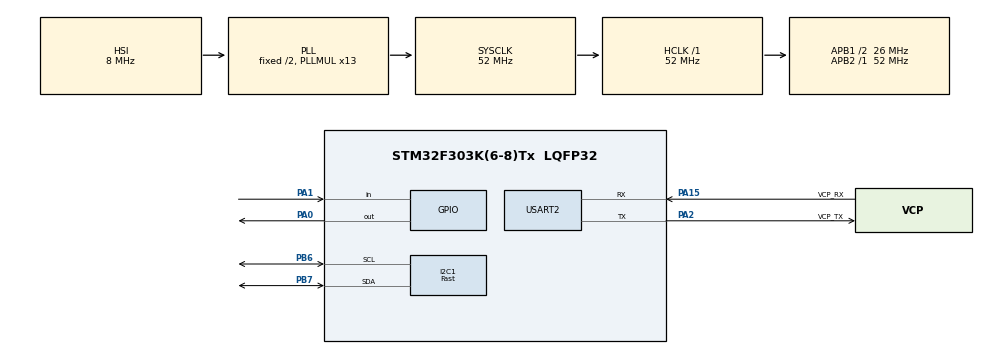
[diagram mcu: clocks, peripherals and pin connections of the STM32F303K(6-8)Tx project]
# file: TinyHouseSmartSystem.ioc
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I2C1.I2C_Speed_Mode=I2C_Fast
I2C1.Timing=0x0000020B
Mcu.Family=STM32F3
Mcu.Name=STM32F303K(6-8)Tx
Mcu.Package=LQFP32
NVIC.PriorityGroup=NVIC_PRIORITYGROUP_4
PA0.Signal=GPIO_Output
PA1.Signal=GPIO_Input
PA13.GPIO_Label=SWDIO
PA13.Mode=Serial_Wire
PA13.Signal=SYS_JTMS-SWDIO
PA14.GPIO_Label=SWCLK
PA14.Mode=Serial_Wire
PA14.Signal=SYS_JTCK-SWCLK
PA15.GPIO_Label=VCP_RX
PA15.Mode=Asynchronous
PA15.Signal=USART2_RX
PA2.GPIO_Label=VCP_TX
PA2.Mode=Asynchronous
PA2.Signal=USART2_TX
PB6.Mode=I2C
PB6.Signal=I2C1_SCL
PB7.Mode=I2C
PB7.Signal=I2C1_SDA
PF0\ /\ OSC_IN.GPIO_Label=MCO
PF0\ /\ OSC_IN.Mode=HSE-External-Clock-Source
PF0\ /\ OSC_IN.Signal=RCC_OSC_IN
ProjectManager.HeapSize=0x200
ProjectManager.StackSize=0x400
ProjectManager.TargetToolchain=STM32CubeIDE
RCC.AHBFreq_Value=52000000
RCC.APB1CLKDivider=RCC_HCLK_DIV2
RCC.APB1Freq_Value=26000000
RCC.APB1TimFreq_Value=52000000
RCC.APB2Freq_Value=52000000
RCC.APB2TimFreq_Value=52000000
RCC.CortexFreq_Value=52000000
RCC.HCLKFreq_Value=52000000
RCC.HSE_VALUE=8000000
RCC.HSI_VALUE=8000000
RCC.PLLMUL=RCC_PLL_MUL13
RCC.SYSCLKFreq_VALUE=52000000
RCC.SYSCLKSourceVirtual=RCC_SYSCLKSOURCE_PLLCLK
TIM1.Prescaler=51
USART2.VirtualMode-Asynchronous=VM_ASYNC
VP_TIM1_VS_ClockSourceINT.Mode=Internal
board=NUCLEO-F303K8

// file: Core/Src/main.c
/* USER CODE BEGIN Header */
/**
  ******************************************************************************
  * @file           : main.c
  * @brief          : Main program body
  ******************************************************************************
  * @attention
  *
  * Copyright (c) 2023 STMicroelectronics.
  * All rights reserved.
  *
  * This software is licensed under terms that can be found in the LICENSE file
  * in the root directory of this software component.
  * If no LICENSE file comes with this software, it is provided AS-IS.
  *
  ******************************************************************************
  */
/* USER CODE END Header */
#include "main.h"

/* USER CODE BEGIN Includes */
#include "ssd1306.h"
#include "stdio.h"
/* USER CODE END Includes */

I2C_HandleTypeDef hi2c1;

TIM_HandleTypeDef htim1;

UART_HandleTypeDef huart2;

void SystemClock_Config(void);
static void MX_GPIO_Init(void);
static void MX_USART2_UART_Init(void);
static void MX_I2C1_Init(void);
static void MX_TIM1_Init(void);

uint8_t DHT11_Start(void);
uint8_t DHT11_Read(void);
uint8_t getAirQuality(void);

/* USER CODE BEGIN 0 */
/****************************     Defining the States  &  Global Variables       ************************/
typedef enum
{
	Idle_State,
	TandH_Read_State,
	AirQ_Read_State,
	Display_Results_State
} eSystemState;

#define DHT11_PORT GPIOA
#define DHT11_PIN GPIO_PIN_0
#define MQ135_PORT GPIOA
#define MQ135_PIN GPIO_PIN_1

uint8_t RHI, RHD, TCI, TCD, SUM;
uint32_t pMillis, cMillis;
float tCelsius = 0;
float tFahrenheit = 0;
float RH = 0;
uint8_t TFI = 0;
uint8_t TFD = 0;
char strCopy[15];

/* Prototype Event Handlers */
eSystemState IdleHandler(void)
{
	//Delay for 1 seconds
	HAL_Delay(2000);
	//Start the temperature read state
	HAL_TIM_Base_Start(&htim1);
	ssd1306_Init();

	ssd1306_SetCursor(4, 1);
	ssd1306_WriteString("Melon ", Font_11x18, White);

	ssd1306_SetCursor(1,25);
	ssd1306_WriteString("Electronics", Font_11x18, White);

	ssd1306_UpdateScreen();

	return TandH_Read_State; // Goes to Temperature Read State
}

eSystemState TandHReaderHandler(void)
{
	//Reads the Humidity data
	//Stores the data

	if(DHT11_Start())
	{
		RHI = DHT11_Read(); // Relative humidity integral
	    RHD = DHT11_Read(); // Relative humidity decimal
	    TCI = DHT11_Read(); // Celsius integral
	    TCD = DHT11_Read(); // Celsius decimal
	    SUM = DHT11_Read(); // Check sum
	    if (RHI + RHD + TCI + TCD == SUM)
	    {
	    	// Can use RHI and TCI for any purposes if whole number only needed
	    	tCelsius = (float)TCI + (float)(TCD/10.0);
	    	tFahrenheit = tCelsius * 9/5 + 32;
	    	RH = (float)RHI + (float)(RHD/10.0);

	    	// Can use tCelsius, tFahrenheit and RH for any purposes
	    	TFI = tFahrenheit;  // Fahrenheit integral
	    	TFD = tFahrenheit*10-TFI*10; // Fahrenheit decimal

	    	sprintf(strCopy,"Tmp: %d.%d F   ", TFI, TFD);
	    	ssd1306_SetCursor(1, 1);
	    	ssd1306_WriteString (strCopy, Font_11x18, White);

	    	sprintf(strCopy,"Hmd: %d.%d %%  ", RHI, RHD);
	    	ssd1306_SetCursor(1, 25);
	    	ssd1306_WriteString (strCopy, Font_11x18, White);

	      }
	  }
	return AirQ_Read_State; //Goes to AirQ Read State
}

eSystemState AirQReaderHandler(void)
{
	//Reads the AirQ data
	//Stores the data

	  ssd1306_SetCursor(1, 46);
	  //sprintf(strCopy,"AIR BAD :(");

	  switch (getAirQuality()){
	  case 1:
		  sprintf(strCopy,"Air: Good");
		  break;
	  case 0:
		  sprintf(strCopy,"Air: Bad    ");
		  break;
	  default:
		  sprintf(strCopy,"Air: N/a");
	  }

	  ssd1306_WriteString (strCopy, Font_11x18, White);

	return Display_Results_State; //Goes to Display Result State
}

eSystemState DisplayResultsHandler(void)
{
	//Gets the Stored data
	//Displays all 3 data

    ssd1306_UpdateScreen();
    HAL_Delay(2000);

	return TandH_Read_State;
}

/**********************************8888888    Functions    *************************************88*/

void microDelay (uint16_t delay){
	__HAL_TIM_SET_COUNTER(&htim1, 0);
	while (__HAL_TIM_GET_COUNTER(&htim1) < delay);
}

//DHT 11 Functions
uint8_t DHT11_Start(void) {

	uint8_t Response = 0;
	GPIO_InitTypeDef GPIO_InitStructPrivate = {0};
	GPIO_InitStructPrivate.Pin = DHT11_PIN;
	GPIO_InitStructPrivate.Mode = GPIO_MODE_OUTPUT_PP;
	GPIO_InitStructPrivate.Speed = GPIO_SPEED_FREQ_LOW;
	GPIO_InitStructPrivate.Pull = GPIO_NOPULL;

	HAL_GPIO_Init(DHT11_PORT, &GPIO_InitStructPrivate); // set the pin as output
	HAL_GPIO_WritePin (DHT11_PORT, DHT11_PIN, 0);   // pull the pin low
	HAL_Delay(20);   // wait for 20ms
	HAL_GPIO_WritePin (DHT11_PORT, DHT11_PIN, 1);   // pull the pin high
	microDelay (30);   // wait for 30us

	GPIO_InitStructPrivate.Mode = GPIO_MODE_INPUT;
	GPIO_InitStructPrivate.Pull = GPIO_PULLUP;
	HAL_GPIO_Init(DHT11_PORT, &GPIO_InitStructPrivate); // set the pin as input
	microDelay (40);

	if (!(HAL_GPIO_ReadPin (DHT11_PORT, DHT11_PIN))) {
		microDelay (80);
		if ((HAL_GPIO_ReadPin (DHT11_PORT, DHT11_PIN))) {
			Response = 1;
		}
	}

	pMillis = HAL_GetTick();
	cMillis = HAL_GetTick();
	while ((HAL_GPIO_ReadPin (DHT11_PORT, DHT11_PIN)) && pMillis + 2 > cMillis) {
		cMillis = HAL_GetTick();
	}
	return Response;
}

uint8_t DHT11_Read(void) {
    uint8_t a, b = 0;;

    for (a = 0; a < 8; a++) {
        pMillis = HAL_GetTick();
        cMillis = HAL_GetTick();

        while (!(HAL_GPIO_ReadPin(DHT11_PORT, DHT11_PIN)) && pMillis + 2 > cMillis) {
            // wait for the pin to go high
            cMillis = HAL_GetTick();
        }

        microDelay(40); // wait for 40 us

        if (!(HAL_GPIO_ReadPin(DHT11_PORT, DHT11_PIN))) {
            // if the pin is low
            b &= ~(1 << (7 - a));
        } else {
            b |= (1 << (7 - a));
        }

        pMillis = HAL_GetTick();
        cMillis = HAL_GetTick();

        while ((HAL_GPIO_ReadPin(DHT11_PORT, DHT11_PIN)) && pMillis + 2 > cMillis) {
            // wait for the pin to go low
            cMillis = HAL_GetTick();
        }
    }

    return b;
}

uint8_t getAirQuality(void){
	uint8_t airGood = -1;
	GPIO_InitTypeDef GPIO_InitStructPrivate = {0};
	GPIO_InitStructPrivate.Pin = MQ135_PIN;
	GPIO_InitStructPrivate.Mode = GPIO_MODE_INPUT;
	GPIO_InitStructPrivate.Speed = GPIO_SPEED_FREQ_LOW;
	GPIO_InitStructPrivate.Pull = GPIO_NOPULL;
	HAL_GPIO_Init(MQ135_PORT, &GPIO_InitStructPrivate); // set the pin as input
	airGood = HAL_GPIO_ReadPin (MQ135_PORT, MQ135_PIN);
	return airGood;
}

/* USER CODE END 0 */

int main(void)
{

  /* MCU Configuration--------------------------------------------------------*/

  /* Reset of all peripherals, Initializes the Flash interface and the Systick. */
  HAL_Init();

  /* Configure the system clock */
  SystemClock_Config();

  /* Initialize all configured peripherals */
  MX_GPIO_Init();
  MX_USART2_UART_Init();
  MX_I2C1_Init();
  MX_TIM1_Init();
  /* USER CODE BEGIN 2 */

  //Declaring the first state - Idle State
  eSystemState eNextState = Idle_State;

  /* USER CODE END 2 */

  /* Infinite loop */
  while (1)
  {

    /* USER CODE BEGIN 3 */
	switch(eNextState)
	{
		case Idle_State:
			eNextState = IdleHandler();
			break;
		case TandH_Read_State:
			eNextState = TandHReaderHandler();
			break;
		case AirQ_Read_State:
			eNextState = AirQReaderHandler();
			break;
		case Display_Results_State:
			eNextState = DisplayResultsHandler();
			break;
	  }
  }
  /* USER CODE END 3 */
}

void SystemClock_Config(void)
{
  RCC_OscInitTypeDef RCC_OscInitStruct = {0};
  RCC_ClkInitTypeDef RCC_ClkInitStruct = {0};
  RCC_PeriphCLKInitTypeDef PeriphClkInit = {0};

  /** Initializes the RCC Oscillators according to the specified parameters
  * in the RCC_OscInitTypeDef structure.
  */
  RCC_OscInitStruct.OscillatorType = RCC_OSCILLATORTYPE_HSI;
  RCC_OscInitStruct.HSIState = RCC_HSI_ON;
  RCC_OscInitStruct.HSICalibrationValue = RCC_HSICALIBRATION_DEFAULT;
  RCC_OscInitStruct.PLL.PLLState = RCC_PLL_ON;
  RCC_OscInitStruct.PLL.PLLSource = RCC_PLLSOURCE_HSI;
  RCC_OscInitStruct.PLL.PLLMUL = RCC_PLL_MUL13;
  if (HAL_RCC_OscConfig(&RCC_OscInitStruct) != HAL_OK)
  {
    Error_Handler();
  }

  /** Initializes the CPU, AHB and APB buses clocks
  */
  RCC_ClkInitStruct.ClockType = RCC_CLOCKTYPE_HCLK|RCC_CLOCKTYPE_SYSCLK
                              |RCC_CLOCKTYPE_PCLK1|RCC_CLOCKTYPE_PCLK2;
  RCC_ClkInitStruct.SYSCLKSource = RCC_SYSCLKSOURCE_PLLCLK;
  RCC_ClkInitStruct.AHBCLKDivider = RCC_SYSCLK_DIV1;
  RCC_ClkInitStruct.APB1CLKDivider = RCC_HCLK_DIV2;
  RCC_ClkInitStruct.APB2CLKDivider = RCC_HCLK_DIV1;

  if (HAL_RCC_ClockConfig(&RCC_ClkInitStruct, FLASH_LATENCY_2) != HAL_OK)
  {
    Error_Handler();
  }
  PeriphClkInit.PeriphClockSelection = RCC_PERIPHCLK_I2C1|RCC_PERIPHCLK_TIM1;
  PeriphClkInit.I2c1ClockSelection = RCC_I2C1CLKSOURCE_HSI;
  PeriphClkInit.Tim1ClockSelection = RCC_TIM1CLK_HCLK;
  if (HAL_RCCEx_PeriphCLKConfig(&PeriphClkInit) != HAL_OK)
  {
    Error_Handler();
  }
}

static void MX_I2C1_Init(void)
{

  hi2c1.Instance = I2C1;
  hi2c1.Init.Timing = 0x0000020B;
  hi2c1.Init.OwnAddress1 = 0;
  hi2c1.Init.AddressingMode = I2C_ADDRESSINGMODE_7BIT;
  hi2c1.Init.DualAddressMode = I2C_DUALADDRESS_DISABLE;
  hi2c1.Init.OwnAddress2 = 0;
  hi2c1.Init.OwnAddress2Masks = I2C_OA2_NOMASK;
  hi2c1.Init.GeneralCallMode = I2C_GENERALCALL_DISABLE;
  hi2c1.Init.NoStretchMode = I2C_NOSTRETCH_DISABLE;
  if (HAL_I2C_Init(&hi2c1) != HAL_OK)
  {
    Error_Handler();
  }

  /** Configure Analogue filter
  */
  if (HAL_I2CEx_ConfigAnalogFilter(&hi2c1, I2C_ANALOGFILTER_ENABLE) != HAL_OK)
  {
    Error_Handler();
  }

  /** Configure Digital filter
  */
  if (HAL_I2CEx_ConfigDigitalFilter(&hi2c1, 0) != HAL_OK)
  {
    Error_Handler();
  }

}

static void MX_TIM1_Init(void)
{

  TIM_ClockConfigTypeDef sClockSourceConfig = {0};
  TIM_MasterConfigTypeDef sMasterConfig = {0};

  htim1.Instance = TIM1;
  htim1.Init.Prescaler = 51;
  htim1.Init.CounterMode = TIM_COUNTERMODE_UP;
  htim1.Init.Period = 65535;
  htim1.Init.ClockDivision = TIM_CLOCKDIVISION_DIV1;
  htim1.Init.RepetitionCounter = 0;
  htim1.Init.AutoReloadPreload = TIM_AUTORELOAD_PRELOAD_DISABLE;
  if (HAL_TIM_Base_Init(&htim1) != HAL_OK)
  {
    Error_Handler();
  }
  sClockSourceConfig.ClockSource = TIM_CLOCKSOURCE_INTERNAL;
  if (HAL_TIM_ConfigClockSource(&htim1, &sClockSourceConfig) != HAL_OK)
  {
    Error_Handler();
  }
  sMasterConfig.MasterOutputTrigger = TIM_TRGO_RESET;
  sMasterConfig.MasterOutputTrigger2 = TIM_TRGO2_RESET;
  sMasterConfig.MasterSlaveMode = TIM_MASTERSLAVEMODE_DISABLE;
  if (HAL_TIMEx_MasterConfigSynchronization(&htim1, &sMasterConfig) != HAL_OK)
  {
    Error_Handler();
  }

}

static void MX_USART2_UART_Init(void)
{

  huart2.Instance = USART2;
  huart2.Init.BaudRate = 38400;
  huart2.Init.WordLength = UART_WORDLENGTH_8B;
  huart2.Init.StopBits = UART_STOPBITS_1;
  huart2.Init.Parity = UART_PARITY_NONE;
  huart2.Init.Mode = UART_MODE_TX_RX;
  huart2.Init.HwFlowCtl = UART_HWCONTROL_NONE;
  huart2.Init.OverSampling = UART_OVERSAMPLING_16;
  huart2.Init.OneBitSampling = UART_ONE_BIT_SAMPLE_DISABLE;
  huart2.AdvancedInit.AdvFeatureInit = UART_ADVFEATURE_NO_INIT;
  if (HAL_UART_Init(&huart2) != HAL_OK)
  {
    Error_Handler();
  }

}

static void MX_GPIO_Init(void)
{
  GPIO_InitTypeDef GPIO_InitStruct = {0};

  /* GPIO Ports Clock Enable */
  __HAL_RCC_GPIOF_CLK_ENABLE();
  __HAL_RCC_GPIOA_CLK_ENABLE();
  __HAL_RCC_GPIOB_CLK_ENABLE();

  /*Configure GPIO pin Output Level */
  HAL_GPIO_WritePin(GPIOA, GPIO_PIN_0, GPIO_PIN_RESET);

  /*Configure GPIO pin : PA0 */
  GPIO_InitStruct.Pin = GPIO_PIN_0;
  GPIO_InitStruct.Mode = GPIO_MODE_OUTPUT_PP;
  GPIO_InitStruct.Pull = GPIO_NOPULL;
  GPIO_InitStruct.Speed = GPIO_SPEED_FREQ_LOW;
  HAL_GPIO_Init(GPIOA, &GPIO_InitStruct);

  /*Configure GPIO pin : PA1 */
  GPIO_InitStruct.Pin = GPIO_PIN_1;
  GPIO_InitStruct.Mode = GPIO_MODE_INPUT;
  GPIO_InitStruct.Pull = GPIO_NOPULL;
  HAL_GPIO_Init(GPIOA, &GPIO_InitStruct);

}

void Error_Handler(void)
{
  __disable_irq();
  while (1)
  {
  }
}
